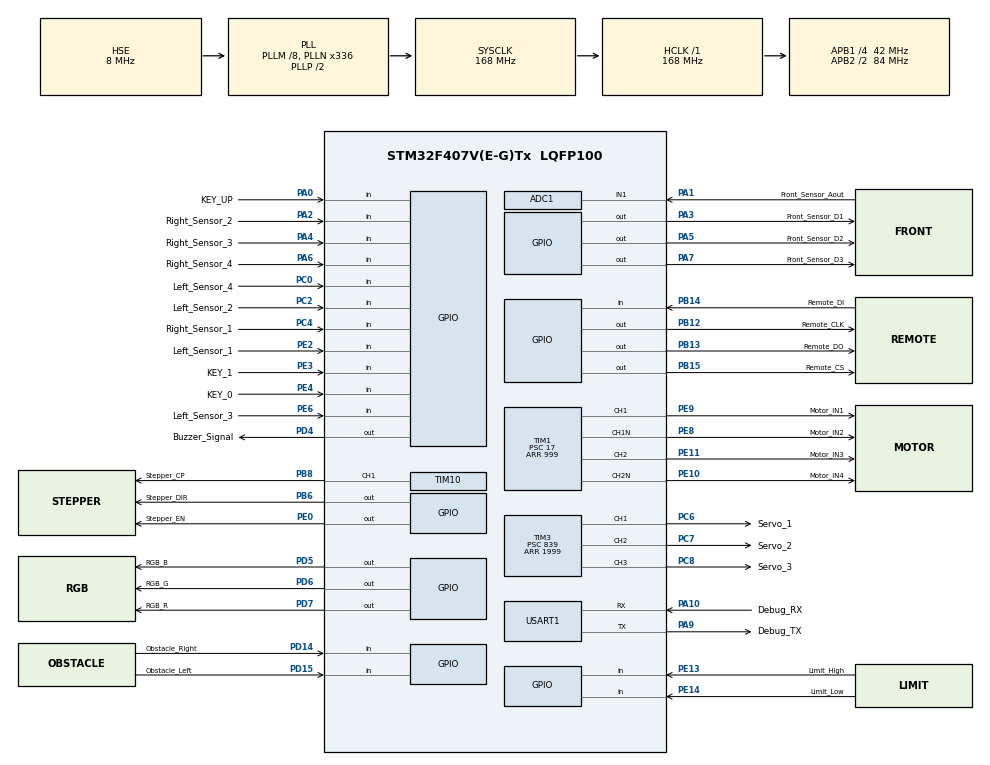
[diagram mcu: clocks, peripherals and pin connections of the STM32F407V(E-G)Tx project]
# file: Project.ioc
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ADC1.Channel-23\#ChannelRegularConversion=ADC_CHANNEL_1
ADC1.NbrOfConversionFlag=1
ADC1.Rank-23\#ChannelRegularConversion=1
ADC1.Resolution=ADC_RESOLUTION_8B
ADC1.SamplingTime-23\#ChannelRegularConversion=ADC_SAMPLETIME_480CYCLES
ADC1.master=1
Mcu.Family=STM32F4
Mcu.Name=STM32F407V(E-G)Tx
Mcu.Package=LQFP100
NVIC.PriorityGroup=NVIC_PRIORITYGROUP_2
NVIC.TIM7_IRQn=true\:1\:0\:true\:true\:true\:1\:true\:true
PA0-WKUP.GPIO_Label=KEY_UP
PA0-WKUP.GPIO_PuPd=GPIO_PULLDOWN
PA0-WKUP.Signal=GPIO_Input
PA1.GPIO_Label=Front_Sensor_Aout
PA1.Signal=ADCx_IN1
PA10.GPIO_Label=Debug_RX
PA10.Mode=Asynchronous
PA10.Signal=USART1_RX
PA13.Mode=Serial_Wire
PA13.Signal=SYS_JTMS-SWDIO
PA14.Mode=Serial_Wire
PA14.Signal=SYS_JTCK-SWCLK
PA2.GPIO_Label=Right_Sensor_2
PA2.Signal=GPIO_Input
PA3.GPIO_Label=Front_Sensor_D1
PA3.Signal=GPIO_Output
PA4.GPIO_Label=Right_Sensor_3
PA4.Signal=GPIO_Input
PA5.GPIO_Label=Front_Sensor_D2
PA5.Signal=GPIO_Output
PA6.GPIO_Label=Right_Sensor_4
PA6.Signal=GPIO_Input
PA7.GPIO_Label=Front_Sensor_D3
PA7.Signal=GPIO_Output
PA9.GPIO_Label=Debug_TX
PA9.Mode=Asynchronous
PA9.Signal=USART1_TX
PB12.GPIO_Label=Remote_CLK
PB12.Signal=GPIO_Output
PB13.GPIO_Label=Remote_DO
PB13.Signal=GPIO_Output
PB14.GPIO_Label=Remote_DI
PB14.Signal=GPIO_Input
PB15.GPIO_Label=Remote_CS
PB15.Signal=GPIO_Output
PB6.GPIO_Label=Stepper_DIR
PB6.Signal=GPIO_Output
PB8.GPIO_Label=Stepper_CP
PB8.Signal=S_TIM10_CH1
PC0.GPIO_Label=Left_Sensor_4
PC0.Signal=GPIO_Input
PC2.GPIO_Label=Left_Sensor_2
PC2.Signal=GPIO_Input
PC4.GPIO_Label=Right_Sensor_1
PC4.Signal=GPIO_Input
PC6.GPIO_Label=Servo_1
PC6.Signal=S_TIM3_CH1
PC7.GPIO_Label=Servo_2
PC7.Signal=S_TIM3_CH2
PC8.GPIO_Label=Servo_3
PC8.Signal=S_TIM3_CH3
PD14.GPIO_Label=Obstacle_Right
PD14.Signal=GPIO_Input
PD15.GPIO_Label=Obstacle_Left
PD15.Signal=GPIO_Input
PD4.GPIO_Label=Buzzer_Signal
PD4.Signal=GPIO_Output
PD5.GPIO_Label=RGB_B
PD5.Signal=GPIO_Output
PD6.GPIO_Label=RGB_G
PD6.Signal=GPIO_Output
PD7.GPIO_Label=RGB_R
PD7.Signal=GPIO_Output
PE0.GPIO_Label=Stepper_EN
PE0.Signal=GPIO_Output
PE10.GPIO_Label=Motor_IN4
PE10.Mode=PWM Generation2 CH2 CH2N
PE10.Signal=TIM1_CH2N
PE11.GPIO_Label=Motor_IN3
PE11.GPIO_Speed=GPIO_SPEED_FREQ_VERY_HIGH
PE11.Signal=S_TIM1_CH2
PE13.GPIO_Label=Limit_High
PE13.Signal=GPIO_Input
PE14.GPIO_Label=Limit_Low
PE14.Signal=GPIO_Input
PE2.GPIO_Label=Left_Sensor_1
PE2.Signal=GPIO_Input
PE3.GPIO_Label=KEY_1
PE3.GPIO_PuPd=GPIO_PULLUP
PE3.Signal=GPIO_Input
PE4.GPIO_Label=KEY_0
PE4.GPIO_PuPd=GPIO_PULLUP
PE4.Signal=GPIO_Input
PE6.GPIO_Label=Left_Sensor_3
PE6.Signal=GPIO_Input
PE8.GPIO_Label=Motor_IN2
PE8.Mode=PWM Generation1 CH1 CH1N
PE8.Signal=TIM1_CH1N
PE9.GPIO_Label=Motor_IN1
PE9.GPIO_Speed=GPIO_SPEED_FREQ_VERY_HIGH
PE9.Signal=S_TIM1_CH1
PH0-OSC_IN.Mode=HSE-External-Oscillator
PH0-OSC_IN.Signal=RCC_OSC_IN
PH1-OSC_OUT.Mode=HSE-External-Oscillator
PH1-OSC_OUT.Signal=RCC_OSC_OUT
ProjectManager.HeapSize=0x200
ProjectManager.StackSize=0x400
ProjectManager.TargetToolchain=EWARM V8
RCC.48MHZClocksFreq_Value=84000000
RCC.AHBFreq_Value=168000000
RCC.APB1CLKDivider=RCC_HCLK_DIV4
RCC.APB1Freq_Value=42000000
RCC.APB1TimFreq_Value=84000000
RCC.APB2CLKDivider=RCC_HCLK_DIV2
RCC.APB2Freq_Value=84000000
RCC.APB2TimFreq_Value=168000000
RCC.CortexFreq_Value=168000000
RCC.HCLKFreq_Value=168000000
RCC.HSE_VALUE=8000000
RCC.HSI_VALUE=16000000
RCC.LSE_VALUE=32768
RCC.PLLM=8
RCC.PLLN=336
RCC.PLLSourceVirtual=RCC_PLLSOURCE_HSE
RCC.RCC_RTC_Clock_Source=RCC_RTCCLKSOURCE_LSI
RCC.RCC_RTC_Clock_SourceVirtual=RCC_RTCCLKSOURCE_LSI
RCC.SYSCLKFreq_VALUE=168000000
RCC.SYSCLKSource=RCC_SYSCLKSOURCE_PLLCLK
RCC.VCOOutputFreq_Value=336000000
SH.ADCx_IN1.0=ADC1_IN1,IN1
SH.S_TIM10_CH1.0=TIM10_CH1,PWM Generation1 CH1
SH.S_TIM1_CH1.0=TIM1_CH1,PWM Generation1 CH1 CH1N
SH.S_TIM1_CH2.0=TIM1_CH2,PWM Generation2 CH2 CH2N
SH.S_TIM3_CH1.0=TIM3_CH1,PWM Generation1 CH1
SH.S_TIM3_CH2.0=TIM3_CH2,PWM Generation2 CH2
SH.S_TIM3_CH3.0=TIM3_CH3,PWM Generation3 CH3
TIM1.AutoReloadPreload=TIM_AUTORELOAD_PRELOAD_ENABLE
TIM1.Channel-PWM\ Generation1\ CH1\ CH1N=TIM_CHANNEL_1
TIM1.Channel-PWM\ Generation2\ CH2\ CH2N=TIM_CHANNEL_2
TIM1.Period=999
TIM1.Prescaler=17
TIM10.AutoReloadPreload=TIM_AUTORELOAD_PRELOAD_ENABLE
TIM10.Channel=TIM_CHANNEL_1
TIM10.Period=300
TIM10.Prescaler=83
TIM10.Pulse=100
TIM3.Channel-PWM\ Generation1\ CH1=TIM_CHANNEL_1
TIM3.Channel-PWM\ Generation2\ CH2=TIM_CHANNEL_2
TIM3.Channel-PWM\ Generation3\ CH3=TIM_CHANNEL_3
TIM3.Period=1999
TIM3.Prescaler=839
TIM6.Period=84
TIM6.Prescaler=1
TIM7.Period=10000
TIM7.Prescaler=83
USART1.VirtualMode=VM_ASYNC
VP_TIM10_VS_ClockSourceINT.Mode=Enable_Timer
VP_TIM1_VS_ClockSourceINT.Mode=Internal
VP_TIM3_VS_ClockSourceINT.Mode=Internal
VP_TIM6_VS_ClockSourceINT.Mode=Enable_Timer
VP_TIM7_VS_ClockSourceINT.Mode=Enable_Timer
board=custom

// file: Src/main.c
/* USER CODE BEGIN Header */
/**
  ******************************************************************************
  * @file           : main.c
  * @brief          : Main program body
  ******************************************************************************
  ** This notice applies to any and all portions of this file
  * that are not between comment pairs USER CODE BEGIN and
  * USER CODE END. Other portions of this file, whether
  * inserted by the user or by software development tools
  * are owned by their respective copyright owners.
  *
  * COPYRIGHT(c) 2019 STMicroelectronics
  *
  * Redistribution and use in source and binary forms, with or without modification,
  * are permitted provided that the following conditions are met:
  *   1. Redistributions of source code must retain the above copyright notice,
  *      this list of conditions and the following disclaimer.
  *   2. Redistributions in binary form must reproduce the above copyright notice,
  *      this list of conditions and the following disclaimer in the documentation
  *      and/or other materials provided with the distribution.
  *   3. Neither the name of STMicroelectronics nor the names of its contributors
  *      may be used to endorse or promote products derived from this software
  *      without specific prior written permission.
  *
  * THIS SOFTWARE IS PROVIDED BY THE COPYRIGHT HOLDERS AND CONTRIBUTORS "AS IS"
  * AND ANY EXPRESS OR IMPLIED WARRANTIES, INCLUDING, BUT NOT LIMITED TO, THE
  * IMPLIED WARRANTIES OF MERCHANTABILITY AND FITNESS FOR A PARTICULAR PURPOSE ARE
  * DISCLAIMED. IN NO EVENT SHALL THE COPYRIGHT HOLDER OR CONTRIBUTORS BE LIABLE
  * FOR ANY DIRECT, INDIRECT, INCIDENTAL, SPECIAL, EXEMPLARY, OR CONSEQUENTIAL
  * DAMAGES (INCLUDING, BUT NOT LIMITED TO, PROCUREMENT OF SUBSTITUTE GOODS OR
  * SERVICES; LOSS OF USE, DATA, OR PROFITS; OR BUSINESS INTERRUPTION) HOWEVER
  * CAUSED AND ON ANY THEORY OF LIABILITY, WHETHER IN CONTRACT, STRICT LIABILITY,
  * OR TORT (INCLUDING NEGLIGENCE OR OTHERWISE) ARISING IN ANY WAY OUT OF THE USE
  * OF THIS SOFTWARE, EVEN IF ADVISED OF THE POSSIBILITY OF SUCH DAMAGE.
  *
  ******************************************************************************
  */
/* USER CODE END Header */

#include "main.h"

/* USER CODE BEGIN Includes */
#include "Buzzer.h"
#include "Carrier.h"
#include "Control.h"
#include "data_flash.h"
#include "DC_Motor.h"
#include "Servo.h"
#include "Stepper.h"
#include "Task.h"
#include "Track.h"
/* USER CODE END Includes */

ADC_HandleTypeDef hadc1;

TIM_HandleTypeDef htim1;
TIM_HandleTypeDef htim3;
TIM_HandleTypeDef htim6;
TIM_HandleTypeDef htim7;
TIM_HandleTypeDef htim10;

UART_HandleTypeDef huart1;

/* USER CODE BEGIN PV */
// AD转换结果值
//uint32_t ADC_ConvertedValue[12];
//__IO uint8_t ADC_ConvertedValueLocal[12];
extern const unsigned char BMP1[];
/* USER CODE END PV */

void SystemClock_Config(void);
static void MX_GPIO_Init(void);
/*static*/ void MX_TIM1_Init(void);
static void MX_TIM7_Init(void);
static void MX_ADC1_Init(void);
static void MX_TIM3_Init(void);
static void MX_TIM10_Init(void);
static void MX_USART1_UART_Init(void);
static void MX_TIM6_Init(void);
static void MX_NVIC_Init(void);

int main(void)
{
  /* USER CODE BEGIN 1 */
  uint8_t i;
  /* USER CODE END 1 */

  /* MCU Configuration--------------------------------------------------------*/

  /* Reset of all peripherals, Initializes the Flash interface and the Systick. */
  HAL_Init();

  /* Configure the system clock */
  SystemClock_Config();

  /* Initialize all configured peripherals */
  MX_GPIO_Init();
  MX_TIM1_Init();
  MX_TIM7_Init();
  MX_ADC1_Init();
  MX_TIM3_Init();
  MX_TIM10_Init();
  MX_USART1_UART_Init();
  MX_TIM6_Init();

  /* Initialize interrupts */
  MX_NVIC_Init();
  /* USER CODE BEGIN 2 */
  Stepper_Init();  //步进电机初始化
  Servo_Init();  //舵机位置初始化
  BEEP_StateSet(BEEPState_ON);  //开机提示音
  RGB_Init();  //RGB模块自检
  BEEP_StateSet(BEEPState_OFF);  //提示音结束
  ReadDataFlash((unsigned char*)&test_struct,0x080E0000,sizeof(data_flash_info_struct));  //从Flash中读入数据
  for(i = 0; i < 8; i ++)
  {
    Threshold[i] = (test_struct.Black_Value_in_Flash[i] + test_struct.White_Value_in_Flash[i]) / 2;  //装载阈值
    printf("第%d路阈值：%d\n", i+1, Threshold[i]);  //打印阈值
  }
//  Rotation_Control(Semi);  //旋转轴归位
//  while(1);
  HAL_TIM_Base_Start_IT(&htim7);  //任务定时器启动
  /* USER CODE END 2 */

  /* Infinite loop */
  /* USER CODE BEGIN WHILE */
  while (1)
  {
    Carrier_Handle();  //机械臂处理函数
    /* USER CODE END WHILE */

  }
}

void SystemClock_Config(void)
{
  RCC_OscInitTypeDef RCC_OscInitStruct = {0};
  RCC_ClkInitTypeDef RCC_ClkInitStruct = {0};

  /** Configure the main internal regulator output voltage
  */
  __HAL_RCC_PWR_CLK_ENABLE();
  __HAL_PWR_VOLTAGESCALING_CONFIG(PWR_REGULATOR_VOLTAGE_SCALE1);
  /** Initializes the CPU, AHB and APB busses clocks
  */
  RCC_OscInitStruct.OscillatorType = RCC_OSCILLATORTYPE_HSE;
  RCC_OscInitStruct.HSEState = RCC_HSE_ON;
  RCC_OscInitStruct.PLL.PLLState = RCC_PLL_ON;
  RCC_OscInitStruct.PLL.PLLSource = RCC_PLLSOURCE_HSE;
  RCC_OscInitStruct.PLL.PLLM = 8;
  RCC_OscInitStruct.PLL.PLLN = 336;
  RCC_OscInitStruct.PLL.PLLP = RCC_PLLP_DIV2;
  RCC_OscInitStruct.PLL.PLLQ = 4;
  if (HAL_RCC_OscConfig(&RCC_OscInitStruct) != HAL_OK)
  {
    Error_Handler();
  }
  /** Initializes the CPU, AHB and APB busses clocks
  */
  RCC_ClkInitStruct.ClockType = RCC_CLOCKTYPE_HCLK|RCC_CLOCKTYPE_SYSCLK
                              |RCC_CLOCKTYPE_PCLK1|RCC_CLOCKTYPE_PCLK2;
  RCC_ClkInitStruct.SYSCLKSource = RCC_SYSCLKSOURCE_PLLCLK;
  RCC_ClkInitStruct.AHBCLKDivider = RCC_SYSCLK_DIV1;
  RCC_ClkInitStruct.APB1CLKDivider = RCC_HCLK_DIV4;
  RCC_ClkInitStruct.APB2CLKDivider = RCC_HCLK_DIV2;

  if (HAL_RCC_ClockConfig(&RCC_ClkInitStruct, FLASH_LATENCY_5) != HAL_OK)
  {
    Error_Handler();
  }
}

/**
  * @brief NVIC Configuration.
  * @retval None
  */
static void MX_NVIC_Init(void)
{
  /* TIM7_IRQn interrupt configuration */
  HAL_NVIC_SetPriority(TIM7_IRQn, 1, 0);
  HAL_NVIC_EnableIRQ(TIM7_IRQn);
}

static void MX_ADC1_Init(void)
{

  ADC_ChannelConfTypeDef sConfig = {0};

  /** Configure the global features of the ADC (Clock, Resolution, Data Alignment and number of conversion)
  */
  hadc1.Instance = ADC1;
  hadc1.Init.ClockPrescaler = ADC_CLOCK_SYNC_PCLK_DIV4;
  hadc1.Init.Resolution = ADC_RESOLUTION_8B;
  hadc1.Init.ScanConvMode = DISABLE;
  hadc1.Init.ContinuousConvMode = DISABLE;
  hadc1.Init.DiscontinuousConvMode = DISABLE;
  hadc1.Init.ExternalTrigConvEdge = ADC_EXTERNALTRIGCONVEDGE_NONE;
  hadc1.Init.ExternalTrigConv = ADC_SOFTWARE_START;
  hadc1.Init.DataAlign = ADC_DATAALIGN_RIGHT;
  hadc1.Init.NbrOfConversion = 1;
  hadc1.Init.DMAContinuousRequests = DISABLE;
  hadc1.Init.EOCSelection = ADC_EOC_SINGLE_CONV;
  if (HAL_ADC_Init(&hadc1) != HAL_OK)
  {
    Error_Handler();
  }
  /** Configure for the selected ADC regular channel its corresponding rank in the sequencer and its sample time.
  */
  sConfig.Channel = ADC_CHANNEL_1;
  sConfig.Rank = 1;
  sConfig.SamplingTime = ADC_SAMPLETIME_480CYCLES;
  if (HAL_ADC_ConfigChannel(&hadc1, &sConfig) != HAL_OK)
  {
    Error_Handler();
  }

}

/*static*/ void MX_TIM1_Init(void)
{

  TIM_ClockConfigTypeDef sClockSourceConfig = {0};
  TIM_MasterConfigTypeDef sMasterConfig = {0};
  TIM_OC_InitTypeDef sConfigOC = {0};
  TIM_BreakDeadTimeConfigTypeDef sBreakDeadTimeConfig = {0};

  htim1.Instance = TIM1;
  htim1.Init.Prescaler = 17;
  htim1.Init.CounterMode = TIM_COUNTERMODE_UP;
  htim1.Init.Period = 999;
  htim1.Init.ClockDivision = TIM_CLOCKDIVISION_DIV1;
  htim1.Init.RepetitionCounter = 0;
  htim1.Init.AutoReloadPreload = TIM_AUTORELOAD_PRELOAD_ENABLE;
  if (HAL_TIM_Base_Init(&htim1) != HAL_OK)
  {
    Error_Handler();
  }
  sClockSourceConfig.ClockSource = TIM_CLOCKSOURCE_INTERNAL;
  if (HAL_TIM_ConfigClockSource(&htim1, &sClockSourceConfig) != HAL_OK)
  {
    Error_Handler();
  }
  if (HAL_TIM_PWM_Init(&htim1) != HAL_OK)
  {
    Error_Handler();
  }
  sMasterConfig.MasterOutputTrigger = TIM_TRGO_RESET;
  sMasterConfig.MasterSlaveMode = TIM_MASTERSLAVEMODE_DISABLE;
  if (HAL_TIMEx_MasterConfigSynchronization(&htim1, &sMasterConfig) != HAL_OK)
  {
    Error_Handler();
  }
  sConfigOC.OCMode = TIM_OCMODE_PWM1;
  sConfigOC.Pulse = 0;
  sConfigOC.OCPolarity = TIM_OCPOLARITY_HIGH;
  sConfigOC.OCNPolarity = TIM_OCNPOLARITY_HIGH;
  sConfigOC.OCFastMode = TIM_OCFAST_DISABLE;
  sConfigOC.OCIdleState = TIM_OCIDLESTATE_RESET;
  sConfigOC.OCNIdleState = TIM_OCNIDLESTATE_RESET;
  if (HAL_TIM_PWM_ConfigChannel(&htim1, &sConfigOC, TIM_CHANNEL_1) != HAL_OK)
  {
    Error_Handler();
  }
  if (HAL_TIM_PWM_ConfigChannel(&htim1, &sConfigOC, TIM_CHANNEL_2) != HAL_OK)
  {
    Error_Handler();
  }
  sBreakDeadTimeConfig.OffStateRunMode = TIM_OSSR_DISABLE;
  sBreakDeadTimeConfig.OffStateIDLEMode = TIM_OSSI_DISABLE;
  sBreakDeadTimeConfig.LockLevel = TIM_LOCKLEVEL_OFF;
  sBreakDeadTimeConfig.DeadTime = 0;
  sBreakDeadTimeConfig.BreakState = TIM_BREAK_DISABLE;
  sBreakDeadTimeConfig.BreakPolarity = TIM_BREAKPOLARITY_HIGH;
  sBreakDeadTimeConfig.AutomaticOutput = TIM_AUTOMATICOUTPUT_DISABLE;
  if (HAL_TIMEx_ConfigBreakDeadTime(&htim1, &sBreakDeadTimeConfig) != HAL_OK)
  {
    Error_Handler();
  }
  HAL_TIM_MspPostInit(&htim1);

}

static void MX_TIM3_Init(void)
{

  TIM_ClockConfigTypeDef sClockSourceConfig = {0};
  TIM_MasterConfigTypeDef sMasterConfig = {0};
  TIM_OC_InitTypeDef sConfigOC = {0};

  htim3.Instance = TIM3;
  htim3.Init.Prescaler = 839;
  htim3.Init.CounterMode = TIM_COUNTERMODE_UP;
  htim3.Init.Period = 1999;
  htim3.Init.ClockDivision = TIM_CLOCKDIVISION_DIV1;
  htim3.Init.AutoReloadPreload = TIM_AUTORELOAD_PRELOAD_DISABLE;
  if (HAL_TIM_Base_Init(&htim3) != HAL_OK)
  {
    Error_Handler();
  }
  sClockSourceConfig.ClockSource = TIM_CLOCKSOURCE_INTERNAL;
  if (HAL_TIM_ConfigClockSource(&htim3, &sClockSourceConfig) != HAL_OK)
  {
    Error_Handler();
  }
  if (HAL_TIM_PWM_Init(&htim3) != HAL_OK)
  {
    Error_Handler();
  }
  sMasterConfig.MasterOutputTrigger = TIM_TRGO_RESET;
  sMasterConfig.MasterSlaveMode = TIM_MASTERSLAVEMODE_DISABLE;
  if (HAL_TIMEx_MasterConfigSynchronization(&htim3, &sMasterConfig) != HAL_OK)
  {
    Error_Handler();
  }
  sConfigOC.OCMode = TIM_OCMODE_PWM1;
  sConfigOC.Pulse = 0;
  sConfigOC.OCPolarity = TIM_OCPOLARITY_HIGH;
  sConfigOC.OCFastMode = TIM_OCFAST_DISABLE;
  if (HAL_TIM_PWM_ConfigChannel(&htim3, &sConfigOC, TIM_CHANNEL_1) != HAL_OK)
  {
    Error_Handler();
  }
  if (HAL_TIM_PWM_ConfigChannel(&htim3, &sConfigOC, TIM_CHANNEL_2) != HAL_OK)
  {
    Error_Handler();
  }
  if (HAL_TIM_PWM_ConfigChannel(&htim3, &sConfigOC, TIM_CHANNEL_3) != HAL_OK)
  {
    Error_Handler();
  }
  HAL_TIM_MspPostInit(&htim3);

}

static void MX_TIM6_Init(void)
{

  TIM_MasterConfigTypeDef sMasterConfig = {0};

  htim6.Instance = TIM6;
  htim6.Init.Prescaler = 1;
  htim6.Init.CounterMode = TIM_COUNTERMODE_UP;
  htim6.Init.Period = 84;
  htim6.Init.AutoReloadPreload = TIM_AUTORELOAD_PRELOAD_DISABLE;
  if (HAL_TIM_Base_Init(&htim6) != HAL_OK)
  {
    Error_Handler();
  }
  sMasterConfig.MasterOutputTrigger = TIM_TRGO_RESET;
  sMasterConfig.MasterSlaveMode = TIM_MASTERSLAVEMODE_DISABLE;
  if (HAL_TIMEx_MasterConfigSynchronization(&htim6, &sMasterConfig) != HAL_OK)
  {
    Error_Handler();
  }

}

static void MX_TIM7_Init(void)
{

  TIM_MasterConfigTypeDef sMasterConfig = {0};

  htim7.Instance = TIM7;
  htim7.Init.Prescaler = 83;
  htim7.Init.CounterMode = TIM_COUNTERMODE_UP;
  htim7.Init.Period = 10000;
  htim7.Init.AutoReloadPreload = TIM_AUTORELOAD_PRELOAD_DISABLE;
  if (HAL_TIM_Base_Init(&htim7) != HAL_OK)
  {
    Error_Handler();
  }
  sMasterConfig.MasterOutputTrigger = TIM_TRGO_RESET;
  sMasterConfig.MasterSlaveMode = TIM_MASTERSLAVEMODE_DISABLE;
  if (HAL_TIMEx_MasterConfigSynchronization(&htim7, &sMasterConfig) != HAL_OK)
  {
    Error_Handler();
  }

}

static void MX_TIM10_Init(void)
{

  TIM_OC_InitTypeDef sConfigOC = {0};

  htim10.Instance = TIM10;
  htim10.Init.Prescaler = 83;
  htim10.Init.CounterMode = TIM_COUNTERMODE_UP;
  htim10.Init.Period = 300;
  htim10.Init.ClockDivision = TIM_CLOCKDIVISION_DIV1;
  htim10.Init.AutoReloadPreload = TIM_AUTORELOAD_PRELOAD_ENABLE;
  if (HAL_TIM_Base_Init(&htim10) != HAL_OK)
  {
    Error_Handler();
  }
  if (HAL_TIM_PWM_Init(&htim10) != HAL_OK)
  {
    Error_Handler();
  }
  sConfigOC.OCMode = TIM_OCMODE_PWM1;
  sConfigOC.Pulse = 100;
  sConfigOC.OCPolarity = TIM_OCPOLARITY_HIGH;
  sConfigOC.OCFastMode = TIM_OCFAST_DISABLE;
  if (HAL_TIM_PWM_ConfigChannel(&htim10, &sConfigOC, TIM_CHANNEL_1) != HAL_OK)
  {
    Error_Handler();
  }
  HAL_TIM_MspPostInit(&htim10);

}

static void MX_USART1_UART_Init(void)
{

  huart1.Instance = USART1;
  huart1.Init.BaudRate = 115200;
  huart1.Init.WordLength = UART_WORDLENGTH_8B;
  huart1.Init.StopBits = UART_STOPBITS_1;
  huart1.Init.Parity = UART_PARITY_NONE;
  huart1.Init.Mode = UART_MODE_TX_RX;
  huart1.Init.HwFlowCtl = UART_HWCONTROL_NONE;
  huart1.Init.OverSampling = UART_OVERSAMPLING_16;
  if (HAL_UART_Init(&huart1) != HAL_OK)
  {
    Error_Handler();
  }

}

static void MX_GPIO_Init(void)
{
  GPIO_InitTypeDef GPIO_InitStruct = {0};

  /* GPIO Ports Clock Enable */
  __HAL_RCC_GPIOE_CLK_ENABLE();
  __HAL_RCC_GPIOH_CLK_ENABLE();
  __HAL_RCC_GPIOC_CLK_ENABLE();
  __HAL_RCC_GPIOA_CLK_ENABLE();
  __HAL_RCC_GPIOB_CLK_ENABLE();
  __HAL_RCC_GPIOD_CLK_ENABLE();

  /*Configure GPIO pin Output Level */
  HAL_GPIO_WritePin(GPIOA, Front_Sensor_D1_Pin|Front_Sensor_D2_Pin|Front_Sensor_D3_Pin, GPIO_PIN_RESET);

  /*Configure GPIO pin Output Level */
  HAL_GPIO_WritePin(GPIOB, Remote_CLK_Pin|Remote_DO_Pin|Remote_CS_Pin|Stepper_DIR_Pin, GPIO_PIN_RESET);

  /*Configure GPIO pin Output Level */
  HAL_GPIO_WritePin(GPIOD, Buzzer_Signal_Pin|RGB_B_Pin|RGB_G_Pin|RGB_R_Pin, GPIO_PIN_RESET);

  /*Configure GPIO pin Output Level */
  HAL_GPIO_WritePin(Stepper_EN_GPIO_Port, Stepper_EN_Pin, GPIO_PIN_RESET);

  /*Configure GPIO pins : Left_Sensor_1_Pin Left_Sensor_3_Pin Limit_High_Pin Limit_Low_Pin */
  GPIO_InitStruct.Pin = Left_Sensor_1_Pin|Left_Sensor_3_Pin|Limit_High_Pin|Limit_Low_Pin;
  GPIO_InitStruct.Mode = GPIO_MODE_INPUT;
  GPIO_InitStruct.Pull = GPIO_NOPULL;
  HAL_GPIO_Init(GPIOE, &GPIO_InitStruct);

  /*Configure GPIO pins : KEY_1_Pin KEY_0_Pin */
  GPIO_InitStruct.Pin = KEY_1_Pin|KEY_0_Pin;
  GPIO_InitStruct.Mode = GPIO_MODE_INPUT;
  GPIO_InitStruct.Pull = GPIO_PULLUP;
  HAL_GPIO_Init(GPIOE, &GPIO_InitStruct);

  /*Configure GPIO pins : Left_Sensor_4_Pin Left_Sensor_2_Pin Right_Sensor_1_Pin */
  GPIO_InitStruct.Pin = Left_Sensor_4_Pin|Left_Sensor_2_Pin|Right_Sensor_1_Pin;
  GPIO_InitStruct.Mode = GPIO_MODE_INPUT;
  GPIO_InitStruct.Pull = GPIO_NOPULL;
  HAL_GPIO_Init(GPIOC, &GPIO_InitStruct);

  /*Configure GPIO pin : KEY_UP_Pin */
  GPIO_InitStruct.Pin = KEY_UP_Pin;
  GPIO_InitStruct.Mode = GPIO_MODE_INPUT;
  GPIO_InitStruct.Pull = GPIO_PULLDOWN;
  HAL_GPIO_Init(KEY_UP_GPIO_Port, &GPIO_InitStruct);

  /*Configure GPIO pins : Right_Sensor_2_Pin Right_Sensor_3_Pin Right_Sensor_4_Pin */
  GPIO_InitStruct.Pin = Right_Sensor_2_Pin|Right_Sensor_3_Pin|Right_Sensor_4_Pin;
  GPIO_InitStruct.Mode = GPIO_MODE_INPUT;
  GPIO_InitStruct.Pull = GPIO_NOPULL;
  HAL_GPIO_Init(GPIOA, &GPIO_InitStruct);

  /*Configure GPIO pins : Front_Sensor_D1_Pin Front_Sensor_D2_Pin Front_Sensor_D3_Pin */
  GPIO_InitStruct.Pin = Front_Sensor_D1_Pin|Front_Sensor_D2_Pin|Front_Sensor_D3_Pin;
  GPIO_InitStruct.Mode = GPIO_MODE_OUTPUT_PP;
  GPIO_InitStruct.Pull = GPIO_NOPULL;
  GPIO_InitStruct.Speed = GPIO_SPEED_FREQ_LOW;
  HAL_GPIO_Init(GPIOA, &GPIO_InitStruct);

  /*Configure GPIO pins : Remote_CLK_Pin Remote_DO_Pin Remote_CS_Pin Stepper_DIR_Pin */
  GPIO_InitStruct.Pin = Remote_CLK_Pin|Remote_DO_Pin|Remote_CS_Pin|Stepper_DIR_Pin;
  GPIO_InitStruct.Mode = GPIO_MODE_OUTPUT_PP;
  GPIO_InitStruct.Pull = GPIO_NOPULL;
  GPIO_InitStruct.Speed = GPIO_SPEED_FREQ_LOW;
  HAL_GPIO_Init(GPIOB, &GPIO_InitStruct);

  /*Configure GPIO pin : Remote_DI_Pin */
  GPIO_InitStruct.Pin = Remote_DI_Pin;
  GPIO_InitStruct.Mode = GPIO_MODE_INPUT;
  GPIO_InitStruct.Pull = GPIO_NOPULL;
  HAL_GPIO_Init(Remote_DI_GPIO_Port, &GPIO_InitStruct);

  /*Configure GPIO pins : Obstacle_Right_Pin Obstacle_Left_Pin */
  GPIO_InitStruct.Pin = Obstacle_Right_Pin|Obstacle_Left_Pin;
  GPIO_InitStruct.Mode = GPIO_MODE_INPUT;
  GPIO_InitStruct.Pull = GPIO_NOPULL;
  HAL_GPIO_Init(GPIOD, &GPIO_InitStruct);

  /*Configure GPIO pins : Buzzer_Signal_Pin RGB_B_Pin RGB_G_Pin RGB_R_Pin */
  GPIO_InitStruct.Pin = Buzzer_Signal_Pin|RGB_B_Pin|RGB_G_Pin|RGB_R_Pin;
  GPIO_InitStruct.Mode = GPIO_MODE_OUTPUT_PP;
  GPIO_InitStruct.Pull = GPIO_NOPULL;
  GPIO_InitStruct.Speed = GPIO_SPEED_FREQ_LOW;
  HAL_GPIO_Init(GPIOD, &GPIO_InitStruct);

  /*Configure GPIO pin : Stepper_EN_Pin */
  GPIO_InitStruct.Pin = Stepper_EN_Pin;
  GPIO_InitStruct.Mode = GPIO_MODE_OUTPUT_PP;
  GPIO_InitStruct.Pull = GPIO_NOPULL;
  GPIO_InitStruct.Speed = GPIO_SPEED_FREQ_LOW;
  HAL_GPIO_Init(Stepper_EN_GPIO_Port, &GPIO_InitStruct);

}

/* USER CODE BEGIN 4 */
/*************************************
  * 函数功能: 锁存ADC数据
  * 输入参数: 无
  * 返 回 值: 无
  * 说    明: 无
  ************************************/

/**
  * 函数功能: 重定向c库函数printf到DEBUG_USARTx
  * 输入参数: 无
  * 返 回 值: 无
  * 说    明：无
  */
int fputc(int ch, FILE *f)
{
  HAL_UART_Transmit(&huart1, (uint8_t *)&ch, 1, 0xffff);
  return ch;
}

/**
  * 函数功能: 重定向c库函数getchar,scanf到DEBUG_USARTx
  * 输入参数: 无
  * 返 回 值: 无
  * 说    明：无
  */
int fgetc(FILE * f)
{
  uint8_t ch = 0;
  while(HAL_UART_Receive(&huart1,&ch, 1, 0xffff)!=HAL_OK);
  return ch;
}

/**
  * 函数功能: ADC转换完成回调函数
  * 输入参数: hadc：ADC外设设备句柄
  * 返 回 值: 无
  * 说    明: 无
  */
void HAL_ADC_ConvCpltCallback(ADC_HandleTypeDef* hadc)
{

}

/*************************************
  * 函数功能: 定时器溢出中断回调函数
  * 输入参数: htim：定时器句柄
  * 返 回 值: 无
  * 说    明: 无
  ************************************/
void HAL_TIM_PeriodElapsedCallback(TIM_HandleTypeDef *htim)
{
  if(htim->Instance == TIM6)
  {

  }
  if(htim->Instance == TIM7)
  {
    Task_TIM_Content();

  }
}

/* USER CODE END 4 */

void Error_Handler(void)
{
}

/************************ (C) COPYRIGHT STMicroelectronics *****END OF FILE****/
